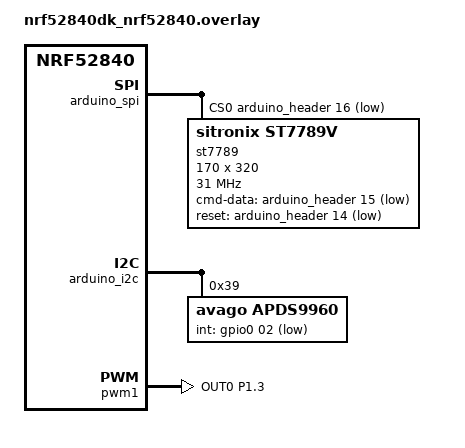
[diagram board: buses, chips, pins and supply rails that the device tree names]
/ {
   pwmleds {
      disp_bl: pwm_led_1 {
          pwms = <&pwm1 0 PWM_MSEC(1) PWM_POLARITY_NORMAL>;
      };
  };
};

&arduino_spi {
   status = "okay";
   cs-gpios = <&arduino_header 16 GPIO_ACTIVE_LOW>;

   st7789: st7789v@0 {
      compatible = "sitronix,st7789v";
      spi-max-frequency = <31000000>;
      reg = <0>;
      cmd-data-gpios = <&arduino_header 15 GPIO_ACTIVE_LOW>;
      reset-gpios = <&arduino_header 14 GPIO_ACTIVE_LOW>;
      width = <170>;
      height = <320>;
      x-offset = <35>;
      y-offset = <0>;
      vcom = <0x19>;
      gctrl = <0x35>;
      vrhs = <0x12>;
      vdvs = <0x20>;
      mdac = <0x00>;
      gamma = <0x01>;
      colmod = <0x05>;
      lcm = <0x2c>;
      porch-param = [ 0c 0c 00 33 33  ];
      cmd2en-param = [ 5a 69 02 01  ];
      pwctrl1-param = [ a4 a1  ];
      pvgam-param = [ D0 04 0D 11 13 2B 3F 54 4C 18 0D 0B 1F 23  ];
      nvgam-param = [ D0 04 0C 11 13 2C 3F 44 51 2F 1F 1F 20 23  ];
      ram-param = [ 00 F0  ];
      rgb-param = [ CD 08 14  ];
   };
};

&arduino_i2c {
   status = "okay";

   apds9960: apds9960@39 {
       compatible = "avago,apds9960";
       status = "okay";
       reg = <0x39>;
       int-gpios = <&gpio0 02 (GPIO_ACTIVE_LOW | GPIO_PULL_UP)>;
   };
};

&pinctrl {
   pwm1_default: pwm1_default {
     group1 {
        psels = <NRF_PSEL(PWM_OUT0, 1, 3)>;
        nordic,invert;
     };
  };

  pwm1_sleep: pwm1_sleep {
     group1 {
        psels = <NRF_PSEL(PWM_OUT0, 1, 3)>;
        low-power-enable;
     };
  };
};

&pwm1 {
  status = "okay";
  pinctrl-0 = <&pwm1_default>;
  pinctrl-1 = <&pwm1_sleep>;
  pinctrl-names = "default", "sleep";
};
